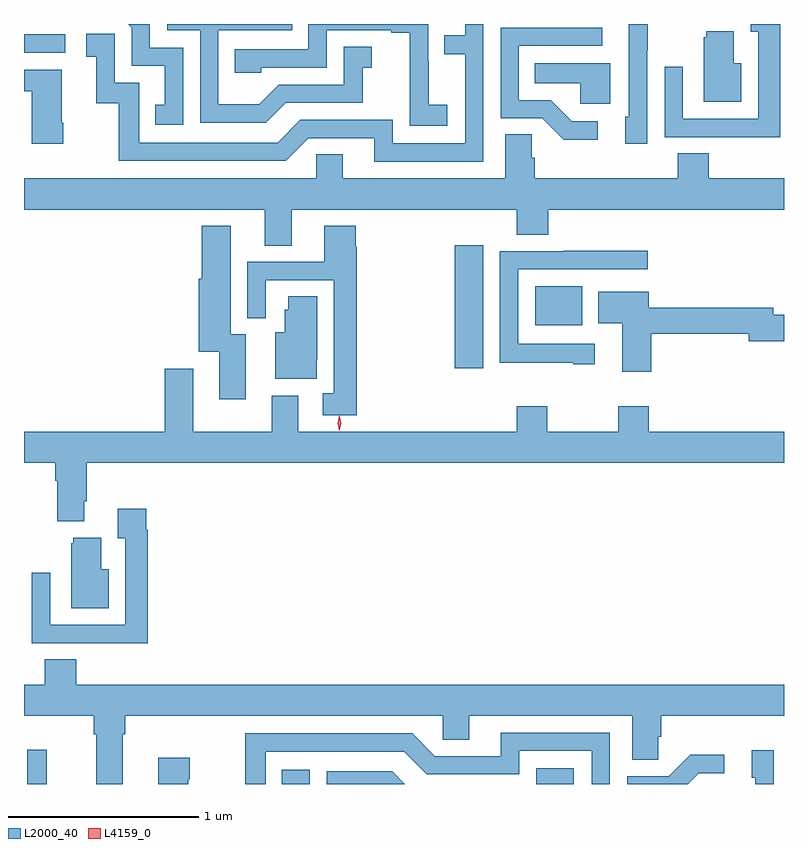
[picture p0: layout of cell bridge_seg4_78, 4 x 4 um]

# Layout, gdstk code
import gdstk
lib = gdstk.Library(unit=1e-6, precision=1e-09)
def R(c, l, rs):  # rectangles x0, y0, x1, y1
    for r in rs: c.add(gdstk.rectangle(r[:2], r[2:], *l))
def P(c, l, *ps):  # polygons
    for p in ps: c.add(gdstk.Polygon(p, *l))
L2000_40 = (2000, 40)
L4159_0 = (4159, 0)

bridge_seg4_78 = lib.new_cell('bridge_seg4_78')
R(bridge_seg4_78, L2000_40, [(469.682,827.097,469.784,827.278), (471.022,827.097,471.168,827.173), (472.36,827.097,472.558,827.179), (471.932,829.284,472.081,829.933), (472.355,829.511,472.603,829.717), (469.665,830.946,469.882,831.042)])
P(bridge_seg4_78, L2000_40, [(472.944,830.959),(472.947,830.959),(472.947,831.097),(472.847,831.097),(472.847,830.914),(472.848,830.914),(472.848,830.61),(472.829,830.61),(472.829,830.466),(472.944,830.466)],
  [(471.892,830.671),(471.794,830.671),(471.794,830.9),(471.792,830.9),(471.792,831.097),(471.162,831.097),(471.162,830.964),(470.773,830.964),(470.773,830.841),(470.913,830.841),(470.913,830.868),(471.258,830.868),(471.258,831.063),(471.599,831.063),(471.599,831.051),(471.695,831.051),(471.695,830.767),(471.694,830.767),(471.694,830.561),(471.892,830.561)],
  [(471.043,830.682),(471.447,830.682),(471.447,830.867),(471.496,830.867),(471.496,830.977),(471.348,830.977),(471.348,830.778),(471.006,830.778),(470.902,830.674),(470.688,830.674),(470.688,831.063),(471.077,831.063),(471.077,831.097),(470.418,831.097),(470.418,831.063),(470.592,831.063),(470.592,830.577),(470.938,830.577)],
  [(472.083,831.097),(471.987,831.097),(471.987,831.039),(471.877,831.039),(471.877,830.938),(471.987,830.938),(471.987,830.469),(471.606,830.469),(471.606,830.592),(471.12,830.592),(471,830.472),(470.271,830.472),(470.271,830.787),(470.142,830.787),(470.142,831.046),(469.992,831.046),(469.992,830.925),(470.045,830.925),(470.045,830.679),(470.163,830.679),(470.163,830.376),(471.042,830.376),(471.162,830.496),(471.509,830.496),(471.509,830.373),(472.083,830.373)],
  [(470.502,830.973),(470.328,830.973),(470.328,831.097),(470.213,831.097),(470.232,831.078),(470.232,830.877),(470.405,830.877),(470.405,830.673),(470.356,830.673),(470.356,830.568),(470.502,830.568)],
  [(473.645,831.097),(473.489,831.097),(473.489,831.055),(473.529,831.055),(473.529,830.598),(473.133,830.598),(473.133,830.872),(473.037,830.872),(473.037,830.502),(473.353,830.502),(473.353,830.501),(473.645,830.501)],
  [(472.684,830.586),(472.549,830.586),(472.438,830.697),(472.269,830.697),(472.269,830.982),(472.708,830.982),(472.708,831.078),(472.173,831.078),(472.173,830.601),(472.392,830.601),(472.505,830.489),(472.684,830.489)],
  [(473.44,830.89),(473.401,830.89),(473.401,831.058),(473.255,831.058),(473.255,831.027),(473.243,831.027),(473.243,830.687),(473.44,830.687)],
  [(472.75,830.89),(472.354,830.89),(472.354,830.786),(472.593,830.786),(472.593,830.678),(472.75,830.678)],
  [(469.872,830.578),(469.864,830.578),(469.864,830.857),(469.665,830.857),(469.665,830.743),(469.706,830.743),(469.706,830.466),(469.872,830.466)],
  [(471.073,830.12),(472.259,830.12),(472.259,829.989),(472.424,829.989),(472.424,830.12),(473.665,830.12),(473.665,830.284),(473.27,830.284),(473.27,830.417),(473.105,830.417),(473.105,830.284),(472.352,830.284),(472.352,830.393),(472.338,830.393),(472.338,830.516),(472.199,830.516),(472.199,830.284),(471.343,830.284),(471.343,830.411),(471.204,830.411),(471.204,830.284),(469.665,830.284),(469.665,830.12),(470.933,830.12),(470.933,829.93),(471.073,829.93)],
  [(470.833,829.465),(470.752,829.465),(470.752,830.035),(470.6,830.035),(470.6,829.755),(470.585,829.755),(470.585,829.371),(470.693,829.371),(470.693,829.122),(470.833,829.122)],
  [(471.415,829.925),(471.41,829.925),(471.41,830.035),(471.245,830.035),(471.245,829.845),(470.841,829.845),(470.841,829.548),(470.937,829.548),(470.937,829.749),(471.296,829.749),(471.296,829.154),(471.237,829.154),(471.237,829.037),(471.415,829.037)],
  [(472.669,829.413),(472.266,829.413),(472.266,829.806),(472.948,829.806),(472.948,829.904),(472.507,829.904),(472.507,829.902),(472.17,829.902),(472.17,829.315),(472.556,829.315),(472.556,829.305),(472.669,829.305)],
  [(472.967,829.468),(473.48,829.468),(473.48,829.426),(473.665,829.426),(473.665,829.568),(473.608,829.568),(473.608,829.604),(472.954,829.604),(472.954,829.687),(472.688,829.687),(472.688,829.523),(472.814,829.523),(472.814,829.266),(472.967,829.266)],
  [(471.205,829.33),(471.208,829.33),(471.208,829.664),(471.056,829.664),(471.056,829.593),(471.038,829.593),(471.038,829.474),(470.987,829.474),(470.987,829.229),(471.205,829.229)],
  [(469.981,828.586),(469.994,828.586),(469.994,828.788),(473.665,828.788),(473.665,828.952),(472.952,828.952),(472.952,829.084),(472.792,829.084),(472.792,828.952),(472.419,828.952),(472.419,829.084),(472.259,829.084),(472.259,828.952),(471.109,828.952),(471.109,829.141),(470.969,829.141),(470.969,828.952),(470.557,828.952),(470.557,829.282),(470.405,829.282),(470.405,828.952),(469.665,828.952),(469.665,828.788),(469.829,828.788),(469.829,828.692),(469.841,828.692),(469.841,828.479),(469.981,828.479)],
  [(470.315,828.434),(470.308,828.434),(470.308,828.547),(470.159,828.547),(470.159,828.391),(470.199,828.391),(470.199,827.934),(469.803,827.934),(469.803,828.208),(469.707,828.208),(469.707,827.838),(470.023,827.838),(470.023,827.837),(470.315,827.837)],
  [(470.11,828.226),(470.071,828.226),(470.071,828.394),(469.925,828.394),(469.925,828.363),(469.913,828.363),(469.913,828.023),(470.11,828.023)],
  [(470.185,827.36),(470.198,827.36),(470.198,827.456),(471.87,827.456),(471.87,827.329),(472.009,827.329),(472.009,827.456),(472.865,827.456),(472.865,827.224),(473.004,827.224),(473.004,827.347),(473.018,827.347),(473.018,827.456),(473.665,827.456),(473.665,827.62),(469.94,827.62),(469.94,827.753),(469.775,827.753),(469.775,827.62),(469.665,827.62),(469.665,827.456),(470.033,827.456),(470.033,827.36),(470.045,827.36),(470.045,827.097),(470.185,827.097)],
  [(470.937,827.268),(471.666,827.268),(471.786,827.148),(472.272,827.148),(472.272,827.271),(472.653,827.271),(472.653,827.097),(472.749,827.097),(472.749,827.367),(472.175,827.367),(472.175,827.244),(471.828,827.244),(471.708,827.364),(470.829,827.364),(470.829,827.097),(470.937,827.097)],
  [(473.61,827.275),(473.495,827.275),(473.495,827.13),(473.514,827.13),(473.514,827.097),(473.61,827.097)],
  [(473.215,827.154),(473.35,827.154),(473.35,827.252),(473.171,827.252),(473.058,827.139),(472.839,827.139),(472.839,827.097),(473.158,827.097)],
  [(470.53,827.123),(470.538,827.123),(470.538,827.236),(470.372,827.236),(470.372,827.097),(470.53,827.097)],
  [(471.604,827.163),(471.258,827.163),(471.258,827.097),(471.67,827.097)])
P(bridge_seg4_78, L4159_0, [(471.325,828.955),(471.325,828.955),(471.315,828.996),(471.325,829.037),(471.325,829.037),(471.325,829.037),(471.335,828.996),(471.325,828.955)])

lib.write_gds('bridge_seg4_78.gds')
